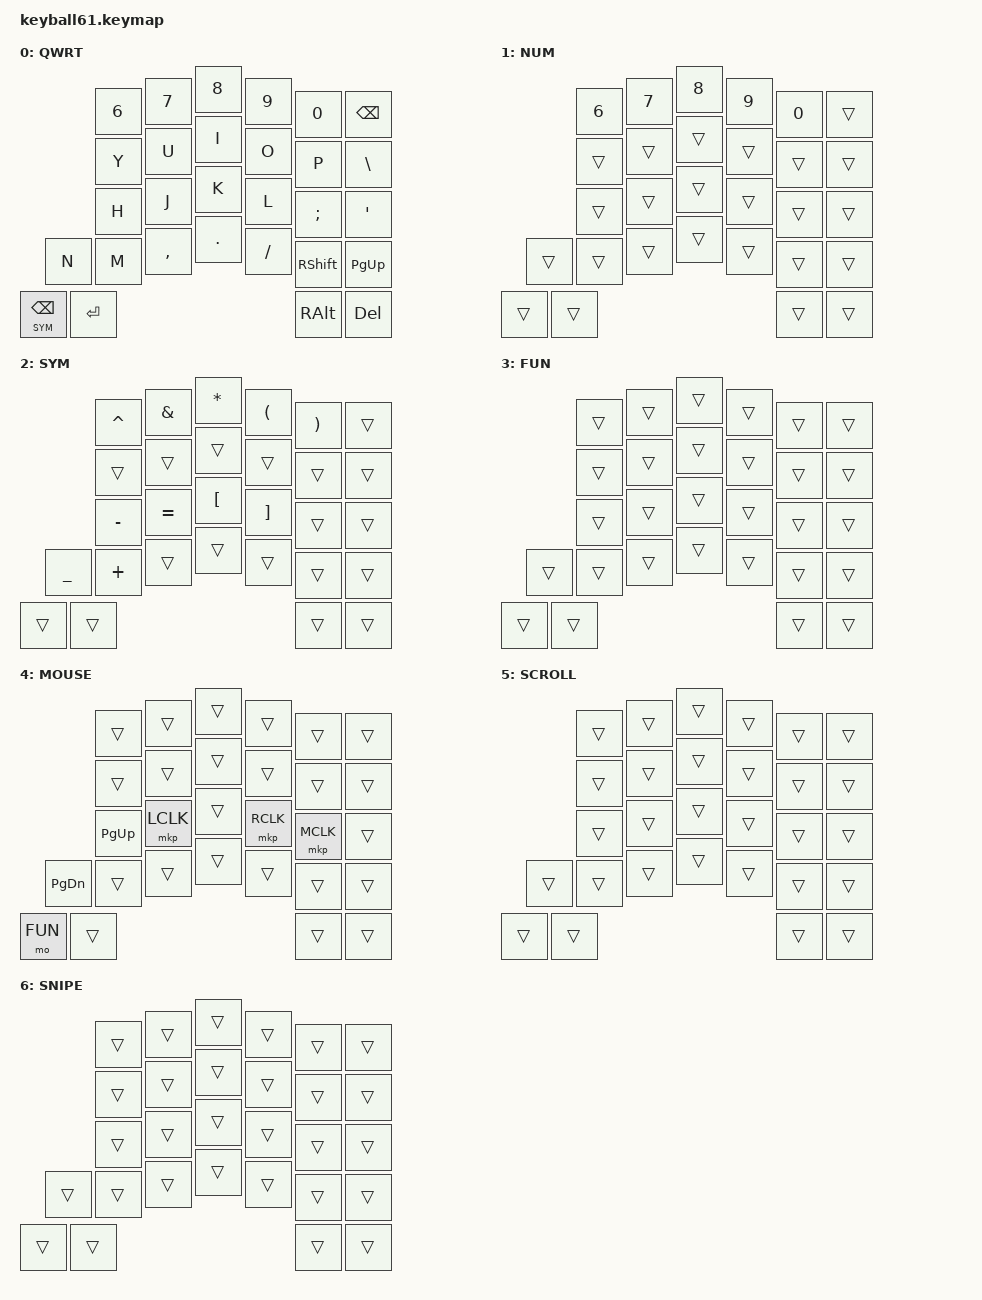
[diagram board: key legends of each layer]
#define DEFAULT 0
#define NUM     1
#define SYM     2
#define FUN     3
#define MOUSE   4
#define SCROLL  5
#define SNIPE   6

#include <behaviors/mouse_keys.dtsi>
#include <behaviors.dtsi>
#include <behaviors/runtime_macro.dtsi>
#include <dt-bindings/zmk/bt.h>
#include <dt-bindings/zmk/keys.h>
#include <dt-bindings/zmk/mouse.h>
#include <dt-bindings/zmk/pointing.h>
#include <dt-bindings/zmk/runtime_input_processor.h>
#include <dt-bindings/input/input-event-codes.h>

#include <behaviors/runtime-input-processor.dtsi>

&lt {
    tapping-term-ms = <240>;
    flavor = "balanced";
    quick-tap-ms = <150>;
};

&mt {
    tapping-term-ms = <200>;
    flavor = "tap-preferred";
    quick-tap-ms = <150>;
};

/ {
    keymap {
        compatible = "zmk,keymap";

        // 各レイヤーは右手側の物理配置（5行：6-6-6-7-4）に対応する計29キーで定義しています
        default_layer {
            label = "QWRT";
            bindings = <
                &kp N6           &kp N7  &kp N8     &kp N9   &kp N0         &kp BSPC
                &kp Y            &kp U   &kp I      &kp O    &kp P          &kp BACKSLASH
                &kp H            &kp J   &kp K      &kp L    &kp SEMI       &kp SQT
                &kp N            &kp M   &kp COMMA  &kp DOT  &kp FSLH       &kp RIGHT_SHIFT &kp PAGE_UP
                &lt SYM BACKSPACE &kp ENTER                                 &kp RIGHT_ALT   &kp DELETE
            >;
        };

        number_layer {
            label = "NUM";
            bindings = <
                &kp N6  &kp N7  &kp N8  &kp N9  &kp N0  &trans
                &trans  &trans  &trans  &trans  &trans  &trans
                &trans  &trans  &trans  &trans  &trans  &trans
                &trans  &trans  &trans  &trans  &trans  &trans  &trans
                &trans  &trans                          &trans  &trans
            >;
        };

        symbol_layer {
            label = "SYM";
            bindings = <
                &kp CARET       &kp AMPERSAND  &kp ASTERISK      &kp LEFT_PARENTHESIS  &kp RIGHT_PARENTHESIS  &trans
                &trans          &trans         &trans            &trans                &trans                 &trans
                &kp MINUS       &kp EQUAL      &kp LEFT_BRACKET  &kp RIGHT_BRACKET     &trans                 &trans
                &kp UNDERSCORE  &kp PLUS       &trans            &trans                &trans                 &trans  &trans
                &trans          &trans                                                                        &trans  &trans
            >;
        };

        function_layer {
            label = "FUN";
            bindings = <
                &trans  &trans  &trans  &trans  &trans  &trans
                &trans  &trans  &trans  &trans  &trans  &trans
                &trans  &trans  &trans  &trans  &trans  &trans
                &trans  &trans  &trans  &trans  &trans  &trans  &trans
                &trans  &trans                          &trans  &trans
            >;
        };

        mouse_layer {
            label = "MOUSE";
            bindings = <
                &trans         &trans     &trans  &trans     &trans     &trans
                &trans         &trans     &trans  &trans     &trans     &trans
                &kp PAGE_UP    &mkp LCLK  &trans  &mkp RCLK  &mkp MCLK  &trans
                &kp PAGE_DOWN  &trans     &trans  &trans     &trans     &trans  &trans
                &mo FUN        &trans                                   &trans  &trans
            >;
        };

        scroll_layer {
            label = "SCROLL";
            bindings = <
                &trans  &trans  &trans  &trans  &trans  &trans
                &trans  &trans  &trans  &trans  &trans  &trans
                &trans  &trans  &trans  &trans  &trans  &trans
                &trans  &trans  &trans  &trans  &trans  &trans  &trans
                &trans  &trans                          &trans  &trans
            >;
        };

        snipe_layer {
            label = "SNIPE";
            bindings = <
                &trans  &trans  &trans  &trans  &trans  &trans
                &trans  &trans  &trans  &trans  &trans  &trans
                &trans  &trans  &trans  &trans  &trans  &trans
                &trans  &trans  &trans  &trans  &trans  &trans  &trans
                &trans  &trans                          &trans  &trans
            >;
        };
    };
};

&mouse_runtime_input_processor {
    temp-layer-enabled;
    temp-layer = <4>;
    temp-layer-activation-delay-ms = <200>;
    temp-layer-deactivation-delay-ms = <400>;
};

&scroll_runtime_input_processor {
    active-layers = <BIT(5)>;
    x-codes = <INPUT_REL_X>;
    y-codes = <INPUT_REL_Y>;
    xy-to-scroll-enabled;
    axis-snap-threshold = <100>;
};

&trackball {
    cpi = <800>;
};
